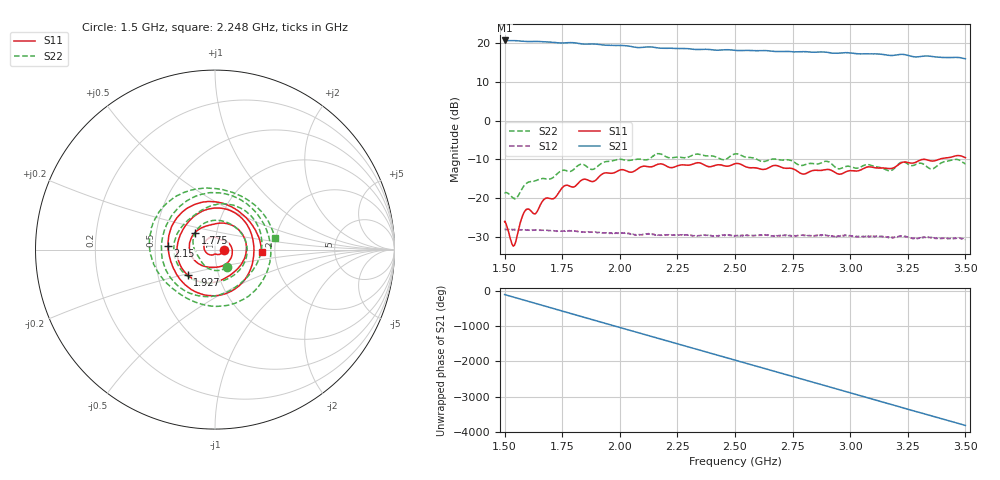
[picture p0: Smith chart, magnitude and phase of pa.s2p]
!Agilent Technologies,E8364A,US41440144,A.06.04.32
!Agilent E8364A: A.06.04.32
!Date: Monday, February 18, 2019 17:00:44
!Correction: S11(Off) S21(Off) S12(Off) S22(Off)
!S2P File: Measurements: S11, S21, S12, S22:
# Hz S  dB  R 50
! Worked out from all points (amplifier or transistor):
!   1601 points, 1.5 GHz to 3.5 GHz, reference 50 ohm
!   highest |S21| = 20.6 dB at 1.5 GHz (marker M1)
!   |S21| within 3 dB of that: start of sweep to 2.831 GHz (the widest 1 of 4)
!   unconditionally stable (mu >= 1): start of sweep to end of sweep
!   at 1.833 GHz: K = 1.48, MAG = 20.1 dB, |S12| = -28.7 dB
!   at 2.5 GHz: K = 1.71, MAG = 19.0 dB, |S12| = -29.7 dB
!   at 3.5 GHz: K = 2.33, MAG = 16.7 dB, |S12| = -30.6 dB
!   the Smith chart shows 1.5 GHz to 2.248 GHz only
!   S11 on the Smith chart (normalised r, x): 1.5 GHz: 1.11, +0.00; 1.775 GHz: 0.79, +0.15; 1.927 GHz: 0.71, -0.21; 2.15 GHz: 0.59, +0.02; 2.248 GHz: 1.70, -0.05
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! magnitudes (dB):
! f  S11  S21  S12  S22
! 1.5 GHz  -26.0  20.6  -28.0  -18.5
! 1.54 GHz  -32.2  20.6  -28.1  -20.0
! 1.591 GHz  -23.0  20.4  -28.2  -16.3
! 1.634 GHz  -24.0  20.4  -28.2  -15.5
! 1.673 GHz  -20.2  20.3  -28.2  -14.9
! 1.715 GHz  -20.0  20.1  -28.4  -14.4
! 1.775 GHz  -16.7  20.0  -28.4  -13.0
! 1.834 GHz  -15.4  19.7  -28.6  -11.2
! 1.881 GHz  -15.7  19.7  -28.7  -12.6
! 1.927 GHz  -13.6  19.5  -28.9  -10.8
! 2.15 GHz  -11.6  18.8  -29.3  -8.9
! 2.167 GHz  -11.2  18.7  -29.4  -8.5
! 2.248 GHz  -11.7  18.5  -29.5  -9.4
! 2.339 GHz  -10.8  18.3  -29.7  -8.6
! 2.451 GHz  -11.6  18.2  -29.5  -10.1
! 2.5 GHz  -11.1  18.1  -29.7  -8.6
! 2.834 GHz  -12.9  17.6  -29.6  -11.0
! 3.167 GHz  -12.3  16.8  -30.0  -12.9
! 3.226 GHz  -10.8  17.0  -29.7  -10.6
! 3.353 GHz  -10.4  16.5  -30.1  -12.4
! 3.45 GHz  -9.2  16.3  -30.3  -10.0
! 3.5 GHz  -9.5  15.9  -30.6  -11.1
